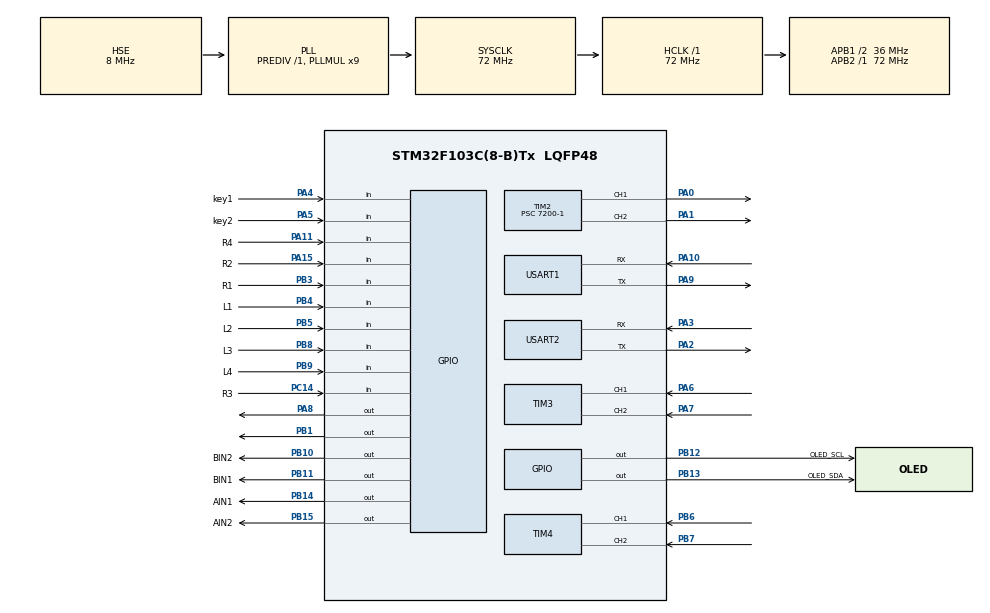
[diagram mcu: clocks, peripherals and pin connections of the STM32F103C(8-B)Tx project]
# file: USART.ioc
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Dma.Request0=USART1_RX
Dma.Request1=USART1_TX
Dma.Request2=USART2_RX
Dma.Request3=USART2_TX
Dma.USART1_RX.0.Direction=DMA_PERIPH_TO_MEMORY
Dma.USART1_RX.0.Instance=DMA1_Channel5
Dma.USART1_RX.0.MemDataAlignment=DMA_MDATAALIGN_BYTE
Dma.USART1_RX.0.MemInc=DMA_MINC_ENABLE
Dma.USART1_RX.0.Mode=DMA_NORMAL
Dma.USART1_RX.0.PeriphDataAlignment=DMA_PDATAALIGN_BYTE
Dma.USART1_RX.0.PeriphInc=DMA_PINC_DISABLE
Dma.USART1_RX.0.Priority=DMA_PRIORITY_LOW
Dma.USART1_TX.1.Direction=DMA_MEMORY_TO_PERIPH
Dma.USART1_TX.1.Instance=DMA1_Channel4
Dma.USART1_TX.1.MemDataAlignment=DMA_MDATAALIGN_BYTE
Dma.USART1_TX.1.MemInc=DMA_MINC_ENABLE
Dma.USART1_TX.1.Mode=DMA_NORMAL
Dma.USART1_TX.1.PeriphDataAlignment=DMA_PDATAALIGN_BYTE
Dma.USART1_TX.1.PeriphInc=DMA_PINC_DISABLE
Dma.USART1_TX.1.Priority=DMA_PRIORITY_LOW
Dma.USART2_RX.2.Direction=DMA_PERIPH_TO_MEMORY
Dma.USART2_RX.2.Instance=DMA1_Channel6
Dma.USART2_RX.2.MemDataAlignment=DMA_MDATAALIGN_BYTE
Dma.USART2_RX.2.MemInc=DMA_MINC_ENABLE
Dma.USART2_RX.2.Mode=DMA_NORMAL
Dma.USART2_RX.2.PeriphDataAlignment=DMA_PDATAALIGN_BYTE
Dma.USART2_RX.2.PeriphInc=DMA_PINC_DISABLE
Dma.USART2_RX.2.Priority=DMA_PRIORITY_LOW
Dma.USART2_TX.3.Direction=DMA_MEMORY_TO_PERIPH
Dma.USART2_TX.3.Instance=DMA1_Channel7
Dma.USART2_TX.3.MemDataAlignment=DMA_MDATAALIGN_BYTE
Dma.USART2_TX.3.MemInc=DMA_MINC_ENABLE
Dma.USART2_TX.3.Mode=DMA_NORMAL
Dma.USART2_TX.3.PeriphDataAlignment=DMA_PDATAALIGN_BYTE
Dma.USART2_TX.3.PeriphInc=DMA_PINC_DISABLE
Dma.USART2_TX.3.Priority=DMA_PRIORITY_LOW
Mcu.Family=STM32F1
Mcu.Name=STM32F103C(8-B)Tx
Mcu.Package=LQFP48
NVIC.DMA1_Channel4_IRQn=true\:0\:0\:false\:false\:true\:false\:true\:true
NVIC.DMA1_Channel5_IRQn=true\:0\:0\:false\:false\:true\:false\:true\:true
NVIC.DMA1_Channel6_IRQn=true\:0\:0\:false\:false\:true\:false\:true\:true
NVIC.DMA1_Channel7_IRQn=true\:0\:0\:false\:false\:true\:false\:true\:true
NVIC.PriorityGroup=NVIC_PRIORITYGROUP_4
NVIC.TIM2_IRQn=true\:0\:0\:false\:false\:true\:true\:true\:true
NVIC.USART1_IRQn=true\:0\:0\:false\:false\:true\:true\:true\:true
NVIC.USART2_IRQn=true\:0\:0\:false\:false\:true\:true\:true\:true
PA0-WKUP.Signal=S_TIM2_CH1_ETR
PA1.Signal=S_TIM2_CH2
PA10.Mode=Asynchronous
PA10.Signal=USART1_RX
PA11.GPIO_Label=R4
PA11.Signal=GPIO_Input
PA13.Mode=Serial_Wire
PA13.Signal=SYS_JTMS-SWDIO
PA14.Mode=Serial_Wire
PA14.Signal=SYS_JTCK-SWCLK
PA15.GPIO_Label=R2
PA15.Signal=GPIO_Input
PA2.Mode=Asynchronous
PA2.Signal=USART2_TX
PA3.Mode=Asynchronous
PA3.Signal=USART2_RX
PA4.GPIO_Label=key1
PA4.GPIO_PuPd=GPIO_PULLUP
PA4.Signal=GPIO_Input
PA5.GPIO_Label=key2
PA5.GPIO_PuPd=GPIO_PULLUP
PA5.Signal=GPIO_Input
PA6.Signal=S_TIM3_CH1
PA7.Signal=S_TIM3_CH2
PA8.Signal=GPIO_Output
PA9.Mode=Asynchronous
PA9.Signal=USART1_TX
PB1.Signal=GPIO_Output
PB10.GPIO_Label=BIN2
PB10.Signal=GPIO_Output
PB11.GPIO_Label=BIN1
PB11.Signal=GPIO_Output
PB12.GPIO_Label=OLED_SCL
PB12.Signal=GPIO_Output
PB13.GPIO_Label=OLED_SDA
PB13.Signal=GPIO_Output
PB14.GPIO_Label=AIN1
PB14.Signal=GPIO_Output
PB15.GPIO_Label=AIN2
PB15.Signal=GPIO_Output
PB3.GPIO_Label=R1
PB3.Signal=GPIO_Input
PB4.GPIO_Label=L1
PB4.Signal=GPIO_Input
PB5.GPIO_Label=L2
PB5.Signal=GPIO_Input
PB6.GPIO_PuPd=GPIO_NOPULL
PB6.Signal=S_TIM4_CH1
PB7.GPIO_PuPd=GPIO_NOPULL
PB7.Signal=S_TIM4_CH2
PB8.GPIO_Label=L3
PB8.Signal=GPIO_Input
PB9.GPIO_Label=L4
PB9.Signal=GPIO_Input
PC14-OSC32_IN.GPIO_Label=R3
PC14-OSC32_IN.Signal=GPIO_Input
PD0-OSC_IN.Mode=HSE-External-Oscillator
PD0-OSC_IN.Signal=RCC_OSC_IN
PD1-OSC_OUT.Mode=HSE-External-Oscillator
PD1-OSC_OUT.Signal=RCC_OSC_OUT
ProjectManager.HeapSize=0x200
ProjectManager.StackSize=0x400
ProjectManager.TargetToolchain=MDK-ARM V5.32
RCC.AHBFreq_Value=72000000
RCC.APB1CLKDivider=RCC_HCLK_DIV2
RCC.APB1Freq_Value=36000000
RCC.APB1TimFreq_Value=72000000
RCC.APB2Freq_Value=72000000
RCC.APB2TimFreq_Value=72000000
RCC.HCLKFreq_Value=72000000
RCC.PLLMUL=RCC_PLL_MUL9
RCC.PLLSourceVirtual=RCC_PLLSOURCE_HSE
RCC.SYSCLKFreq_VALUE=72000000
RCC.SYSCLKSource=RCC_SYSCLKSOURCE_PLLCLK
RCC.USBFreq_Value=72000000
SH.S_TIM2_CH1_ETR.0=TIM2_CH1,PWM Generation1 CH1
SH.S_TIM2_CH2.0=TIM2_CH2,PWM Generation2 CH2
SH.S_TIM3_CH1.0=TIM3_CH1,Encoder_Interface
SH.S_TIM3_CH2.0=TIM3_CH2,Encoder_Interface
SH.S_TIM4_CH1.0=TIM4_CH1,Encoder_Interface
SH.S_TIM4_CH2.0=TIM4_CH2,Encoder_Interface
TIM2.Channel-PWM\ Generation1\ CH1=TIM_CHANNEL_1
TIM2.Channel-PWM\ Generation2\ CH2=TIM_CHANNEL_2
TIM2.Period=100-1
TIM2.Prescaler=7200-1
USART1.VirtualMode=VM_ASYNC
USART2.VirtualMode=VM_ASYNC
VP_TIM2_VS_ClockSourceINT.Mode=Internal
board=custom

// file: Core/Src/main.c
/* USER CODE BEGIN Header */
/**
  ******************************************************************************
  * @file           : main.c
  * @brief          : 车载平衡滚球运动控制系统 —— 主程序
  *
  * @details
  *   本文件只做三件事：
  *     1. CubeMX 外设初始化
  *     2. 启动 PWM / 编码器 / 显示 / 应用层
  *     3. 主循环调度 + 串口中断回调分发
  *   所有控制策略都在 fun.c，电机协议在 qd4310.c，视觉解析在 vision.c。
  ******************************************************************************
  * @attention
  *
  * Copyright (c) 2026 STMicroelectronics.
  * All rights reserved.
  *
  * This software is licensed under terms that can be found in the LICENSE file
  * in the root directory of this software component.
  * If no LICENSE file comes with this software, it is provided AS-IS.
  *
  ******************************************************************************
  */
/* USER CODE END Header */
#include "main.h"
#include "dma.h"
#include "tim.h"
#include "usart.h"
#include "gpio.h"

/* USER CODE BEGIN Includes */
#include "OLED.h"
#include "fun.h"
#include "CAR.h"
#include "pid.h"
#include "Led.h"
#include "qd4310.h"
#include "vision.h"
/* USER CODE END Includes */

/* USER CODE BEGIN PD */
#define TASK_OLED_MS      (50U)    /**< OLED 刷新周期，20Hz */
/* USER CODE END PD */

void SystemClock_Config(void);

int main(void)
{

  /* USER CODE BEGIN 1 */
  uint32_t t_oled = 0U;
  /* USER CODE END 1 */

  /* MCU Configuration--------------------------------------------------------*/

  /* Reset of all peripherals, Initializes the Flash interface and the Systick. */
  HAL_Init();

  /* Configure the system clock */
  SystemClock_Config();

  /* Initialize all configured peripherals */
  MX_GPIO_Init();
  MX_DMA_Init();
  MX_USART1_UART_Init();
  MX_TIM2_Init();
  MX_TIM3_Init();
  MX_TIM4_Init();
  MX_USART2_UART_Init();
  /* USER CODE BEGIN 2 */

	/* ---------- 先把车轮锁死：CAR_GO(0,0)，本阶段不跑循迹 ---------- */
	Led_Init();
	PID_Init();

	/* ---------- TIM2：电机 PWM + 10ms 控制节拍 ---------- */
	HAL_TIM_PWM_Start(&htim2, TIM_CHANNEL_1);
	HAL_TIM_PWM_Start(&htim2, TIM_CHANNEL_2);
	HAL_TIM_Base_Start_IT(&htim2);

	/* ---------- 编码器 ---------- */
	HAL_TIM_Encoder_Start(&htim3, TIM_CHANNEL_ALL);
	TIM3->CNT = 0;
	HAL_TIM_Encoder_Start(&htim4, TIM_CHANNEL_ALL);
	TIM4->CNT = 0;

	/* ---------- 显示 ---------- */
	OLED_Init();
	OLED_Clear();

	/* ---------- 应用层：电机使能 + 摆杆原地保持 + 挂上两路 DMA 接收 ---------- */
	Fun_Init();

	t_oled = HAL_GetTick();

  /* USER CODE END 2 */

  /* Infinite loop */
  /* USER CODE BEGIN WHILE */
	while (1)
	{
		uint32_t now = HAL_GetTick();

		/* 100Hz 摆杆指令 + 按键事件处理（内部节流） */
		Fun_Task();

		/* 编码器速度与里程，持续更新 */
		Encoding_Display();

		/* 20Hz 刷新显示 */
		if ((now - t_oled) >= TASK_OLED_MS) {
			t_oled = now;
			Fun_Display();
		}
	}
  /* USER CODE END 3 */
}

void SystemClock_Config(void)
{
  RCC_OscInitTypeDef RCC_OscInitStruct = {0};
  RCC_ClkInitTypeDef RCC_ClkInitStruct = {0};

  /** Initializes the RCC Oscillators according to the specified parameters
  * in the RCC_OscInitTypeDef structure.
  */
  RCC_OscInitStruct.OscillatorType = RCC_OSCILLATORTYPE_HSE;
  RCC_OscInitStruct.HSEState = RCC_HSE_ON;
  RCC_OscInitStruct.HSEPredivValue = RCC_HSE_PREDIV_DIV1;
  RCC_OscInitStruct.HSIState = RCC_HSI_ON;
  RCC_OscInitStruct.PLL.PLLState = RCC_PLL_ON;
  RCC_OscInitStruct.PLL.PLLSource = RCC_PLLSOURCE_HSE;
  RCC_OscInitStruct.PLL.PLLMUL = RCC_PLL_MUL9;
  if (HAL_RCC_OscConfig(&RCC_OscInitStruct) != HAL_OK)
  {
    Error_Handler();
  }

  /** Initializes the CPU, AHB and APB buses clocks
  */
  RCC_ClkInitStruct.ClockType = RCC_CLOCKTYPE_HCLK|RCC_CLOCKTYPE_SYSCLK
                              |RCC_CLOCKTYPE_PCLK1|RCC_CLOCKTYPE_PCLK2;
  RCC_ClkInitStruct.SYSCLKSource = RCC_SYSCLKSOURCE_PLLCLK;
  RCC_ClkInitStruct.AHBCLKDivider = RCC_SYSCLK_DIV1;
  RCC_ClkInitStruct.APB1CLKDivider = RCC_HCLK_DIV2;
  RCC_ClkInitStruct.APB2CLKDivider = RCC_HCLK_DIV1;

  if (HAL_RCC_ClockConfig(&RCC_ClkInitStruct, FLASH_LATENCY_2) != HAL_OK)
  {
    Error_Handler();
  }
}

/* USER CODE BEGIN 4 */

/* ==================== 串口中断回调分发 ====================
 * USART1 <-> QD4310 ：RX = DMA1_Ch5 + 空闲中断，TX = DMA1_Ch4
 * USART2 <-> MaixCam2：RX = DMA1_Ch6 + 空闲中断，TX = DMA1_Ch7（调试）
 * ========================================================= */

/**
  * @brief  串口接收事件回调（空闲中断 / DMA 传输完成都会进来）
  * @param  huart 串口句柄
  * @param  Size  本次收到的字节数
  */
void HAL_UARTEx_RxEventCallback(UART_HandleTypeDef *huart, uint16_t Size)
{
	if (huart->Instance == USART1) {
		QD4310_OnRxEvent(&g_motor, Size);
	} else if (huart->Instance == USART2) {
		Vision_OnRxEvent(Size);
	}
}

/**
  * @brief  串口发送完成回调
  */
void HAL_UART_TxCpltCallback(UART_HandleTypeDef *huart)
{
	if (huart->Instance == USART1) {
		QD4310_OnTxCplt(&g_motor);
	}
}

/**
  * @brief  串口错误回调
  * @note   不做处理的话 HAL 会停掉接收链，之后再也收不到数据。
  *         这里先尝试重挂；若此刻状态未就绪，Fun_Task 里还会周期性重试。
  */
void HAL_UART_ErrorCallback(UART_HandleTypeDef *huart)
{
	if (huart->Instance == USART1) {
		QD4310_StartRx(&g_motor);
	} else if (huart->Instance == USART2) {
		Vision_StartRx();
	}
}

/* USER CODE END 4 */

void Error_Handler(void)
{
  __disable_irq();
  while (1)
  {
  }
}
